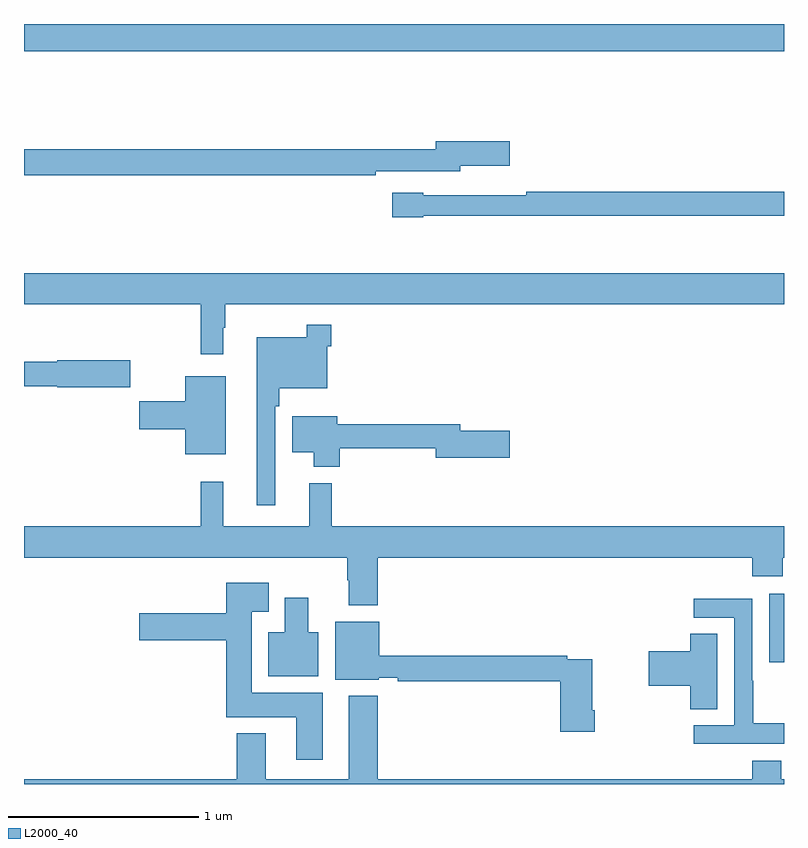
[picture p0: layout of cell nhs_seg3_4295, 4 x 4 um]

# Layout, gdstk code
import gdstk
lib = gdstk.Library(unit=1e-6, precision=1e-09)
def R(c, l, rs):  # rectangles x0, y0, x1, y1
    for r in rs: c.add(gdstk.rectangle(r[:2], r[2:], *l))
def P(c, l, *ps):  # polygons
    for p in ps: c.add(gdstk.Polygon(p, *l))
L2000_40 = (2000, 40)

nhs_seg3_4295 = lib.new_cell('nhs_seg3_4295')
R(nhs_seg3_4295, L2000_40, [(342.923,691.041,343,691.402), (339,694.256,343,694.4)])
P(nhs_seg3_4295, L2000_40, [(340.85,693.624),(341.296,693.624),(341.296,693.653),(341.557,693.653),(341.557,693.783),(341.168,693.783),(341.168,693.74),(339,693.74),(339,693.604),(340.85,693.604)],
  [(341.1,693.39),(343,693.39),(343,693.518),(341.644,693.518),(341.644,693.499),(341.392,693.499),(341.392,693.498),(341.1,693.498),(341.1,693.511),(340.938,693.511),(340.938,693.382),(341.1,693.382)],
  [(340.048,692.801),(340.06,692.801),(340.06,692.924),(343,692.924),(343,693.088),(339,693.088),(339,692.924),(339.931,692.924),(339.931,692.661),(340.048,692.661)],
  [(340.323,692.387),(340.343,692.387),(340.343,692.483),(340.596,692.483),(340.596,692.705),(340.616,692.705),(340.616,692.818),(340.488,692.818),(340.488,692.752),(340.226,692.752),(340.226,691.866),(340.323,691.866)],
  [(339.559,692.631),(339.174,692.631),(339.174,692.623),(339,692.623),(339,692.494),(339.174,692.494),(339.174,692.489),(339.559,692.489)],
  [(340.063,692.545),(339.848,692.545),(339.848,692.414),(339.606,692.414),(339.606,692.267),(339.848,692.267),(339.848,692.135),(340.063,692.135)],
  [(340.661,692.166),(341.168,692.166),(341.168,692.116),(341.557,692.116),(341.557,692.258),(341.296,692.258),(341.296,692.294),(340.648,692.294),(340.648,692.335),(340.412,692.335),(340.412,692.147),(340.526,692.147),(340.526,692.069),(340.661,692.069)],
  [(340.702,691.472),(340.709,691.472),(340.709,691.34),(340.862,691.34),(340.862,691.592),(342.833,691.592),(342.833,691.493),(342.993,691.493),(342.993,691.592),(343,691.592),(343,691.756),(340.619,691.756),(340.619,691.984),(340.502,691.984),(340.502,691.756),(340.049,691.756),(340.049,691.99),(339.931,691.99),(339.931,691.756),(339,691.756),(339,691.592),(340.702,691.592)],
  [(340.573,690.88),(340.198,690.88),(340.198,691.307),(340.288,691.307),(340.288,691.459),(340.064,691.459),(340.064,691.299),(339.606,691.299),(339.606,691.157),(340.064,691.157),(340.064,690.752),(340.433,690.752),(340.433,690.528),(340.573,690.528)],
  [(340.549,691.198),(340.495,691.198),(340.495,691.381),(340.373,691.381),(340.373,691.198),(340.286,691.198),(340.286,690.968),(340.549,690.968)],
  [(343,690.721),(342.837,690.721),(342.837,690.944),(342.834,690.944),(342.834,691.374),(342.525,691.374),(342.525,691.275),(342.738,691.275),(342.738,690.708),(342.525,690.708),(342.525,690.612),(343,690.612)],
  [(342.005,690.787),(341.992,690.787),(341.992,691.056),(341.858,691.056),(341.858,691.076),(340.87,691.076),(340.87,691.255),(340.637,691.255),(340.637,690.95),(340.866,690.95),(340.866,690.96),(340.966,690.96),(340.966,690.94),(341.822,690.94),(341.822,690.675),(342.005,690.675)],
  [(342.649,691.19),(342.506,691.19),(342.506,691.1),(342.288,691.1),(342.288,690.917),(342.506,690.917),(342.506,690.793),(342.649,690.793)],
  [(343,690.424),(342.985,690.424),(342.985,690.523),(342.833,690.523),(342.833,690.424),(340.862,690.424),(340.862,690.865),(340.709,690.865),(340.709,690.424),(340.273,690.424),(340.273,690.667),(340.121,690.667),(340.121,690.424),(339,690.424),(339,690.4),(343,690.4)])

lib.write_gds('nhs_seg3_4295.gds')
